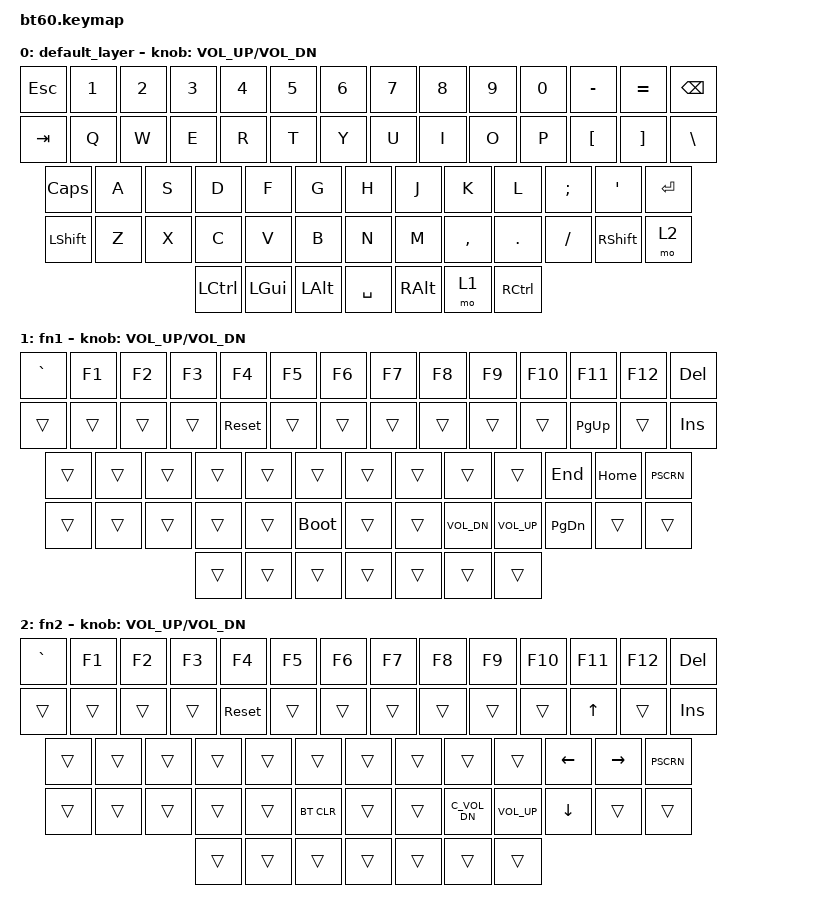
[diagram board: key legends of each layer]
#include <behaviors.dtsi>
#include <dt-bindings/zmk/keys.h>
#include <dt-bindings/zmk/bt.h>
#include <dt-bindings/zmk/rgb.h>
#include <dt-bindings/zmk/backlight.h>
#define default_layer 0
#define fn1 1
#define fn2 2

/ {
	keymap {
		compatible = "zmk,keymap";

		default_layer {
				// ------------------------------------------------------------------------------------------
				// |  `  |  1  |  2  |  3  |  4  |  5  |  6  |  7  |  8  |  9  |  0  |  -  |  =  |   BKSP
				// | TAB  |  Q  |  W  |  E  |  R  |  T  |  Y  |  U  |  I  |  O  |  P  |  [  |  ]  |   |
				// | CAPS  |  A  |  S  |  D  |  F  |  G  |  H  |  J  |  K  |  L  |  ;  |  '  |     ENTER
				// |  SHIFT    |  Z  |  X  |  C  |  V  |  B  |  N  |  M  |  ,  |  .  | /   |      SHIFT
				// |  CTL  |  WIN  |  ALT  |            SPACE               | ALT | 1    |  MENU    |  CTRL
				// ------------------------------------------------------------------------------------------
			bindings = <

				&kp ESC &kp N1 &kp N2 &kp N3 &kp N4 &kp N5 &kp N6 &kp N7 &kp  N8   &kp  N9 &kp  N0  &kp MINUS &kp EQUAL &kp BSPC
				&kp TAB  &kp Q  &kp W  &kp E  &kp R  &kp T  &kp Y  &kp U  &kp  I    &kp  O  &kp  P   &kp LBKT &kp RBKT   &kp BSLH
				&kp CAPS  &kp A  &kp S  &kp D  &kp F  &kp G  &kp H  &kp J  &kp  K    &kp  L  &kp SEMI &kp SQT            &kp RET
				&kp LSHFT  &kp Z  &kp X  &kp C  &kp V  &kp B  &kp N  &kp M  &kp COMMA &kp DOT &kp FSLH         &kp RSHFT &mo 2
				&kp LCTRL &kp LGUI &kp LALT            &kp SPACE                          &kp RALT  &mo 1   &kp RCTRL
			>;
			sensor-bindings = <&inc_dec_kp C_VOL_UP C_VOL_DN>;
		};
		fn1 {
			bindings = <
				&kp GRAVE &kp F1 &kp F2 &kp F3 &kp F4 &kp F5 &kp F6 &kp F7 &kp F8 &kp F9 &kp F10 &kp F11 &kp F12 &kp DEL
				&trans &trans &trans &trans &sys_reset &trans &trans &trans &trans &trans &trans &kp PG_UP &trans &kp INS
				&trans    &trans &trans &trans &trans &trans &trans &trans &trans &trans &kp END  &kp HOME   &PSCRN
				&trans &trans &trans &trans &trans &bootloader &trans &trans &kp C_VOL_DN &kp C_VOL_UP &kp PG_DN  &trans &trans
				&trans &trans  &trans              &trans                            &trans   &trans &trans
			>;
			sensor-bindings = <&inc_dec_kp C_VOL_UP C_VOL_DN>;
		};
		fn2 {
			bindings = <
				&kp GRAVE &kp F1 &kp F2 &kp F3 &kp F4 &kp F5 &kp F6 &kp F7 &kp F8 &kp F9 &kp F10 &kp F11 &kp F12 &kp DEL
				&trans &trans &trans &trans &sys_reset &trans &trans &trans &trans &trans &trans &kp UP &trans &kp INS
				&trans    &trans &trans &trans &trans &trans &trans &trans &trans &trans &kp LEFT  &kp RIGHT   &PSCRN
				&trans &trans &trans &trans &trans &bt BT_CLR &trans &trans &C_VOL_DN &kp C_VOL_UP &kp DOWN  &trans &trans
				&trans &trans  &trans              &trans                            &trans   &trans &trans
			>;
			sensor-bindings = <&inc_dec_kp C_VOL_UP C_VOL_DN>;
		};
	};
};
